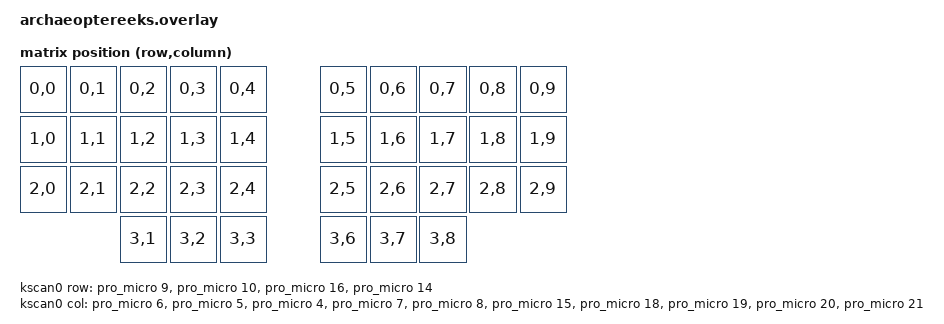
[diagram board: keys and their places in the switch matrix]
/*
 * Copyright (c) 2020 The ZMK Contributors
 *
 * SPDX-License-Identifier: MIT
 */

#include <dt-bindings/zmk/matrix_transform.h>

/ {
    //model = "archaeoptereeks";
    //compatible = "klackygears.archaeoptereeks";

    chosen {
        zmk,kscan = &kscan0;
        zmk,matrix_transform = &default_transform;
    };

    default_transform: keymap_transform_0 {
        compatible = "zmk,matrix-transform";
        columns = <10>;
        rows = <4>;
        map = <
            RC(0,0) RC(0,1) RC(0,2) RC(0,3) RC(0,4) RC(0,5) RC(0,6) RC(0,7) RC(0,8) RC(0,9)
            RC(1,0) RC(1,1) RC(1,2) RC(1,3) RC(1,4) RC(1,5) RC(1,6) RC(1,7) RC(1,8) RC(1,9)
            RC(2,0) RC(2,1) RC(2,2) RC(2,3) RC(2,4) RC(2,5) RC(2,6) RC(2,7) RC(2,8) RC(2,9)
                    RC(3,1) RC(3,2) RC(3,3)                 RC(3,6) RC(3,7) RC(3,8) 
            >;
    };

    kscan0: kscan_0 {
        compatible = "zmk,kscan-gpio-matrix";
        label = "KSCAN";
        diode-direction = "col2row";

        col-gpios
            = <&pro_micro 6 GPIO_ACTIVE_HIGH> //27// COL0
            , <&pro_micro 5 GPIO_ACTIVE_HIGH> //31// COL1
            , <&pro_micro 4 GPIO_ACTIVE_HIGH> //25// COL2
            , <&pro_micro 7 GPIO_ACTIVE_HIGH> //1 // COL3
            , <&pro_micro 8 GPIO_ACTIVE_HIGH> //28// COL4
            , <&pro_micro 15 GPIO_ACTIVE_HIGH> //9// COL5
            , <&pro_micro 18 GPIO_ACTIVE_HIGH> //36// COL6
            , <&pro_micro 19 GPIO_ACTIVE_HIGH> //37// COL7
            , <&pro_micro 20 GPIO_ACTIVE_HIGH> //38// COL8
            , <&pro_micro 21 GPIO_ACTIVE_HIGH> //39// COL9
            ;

        row-gpios
            = <&pro_micro 9 (GPIO_ACTIVE_HIGH | GPIO_PULL_DOWN)> //29// ROW0
            , <&pro_micro 10 (GPIO_ACTIVE_HIGH | GPIO_PULL_DOWN)> //30// ROW1
            , <&pro_micro 16 (GPIO_ACTIVE_HIGH | GPIO_PULL_DOWN)> //10// ROW2
            , <&pro_micro 14 (GPIO_ACTIVE_HIGH | GPIO_PULL_DOWN)> //11// ROW3
            ;
    };
};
